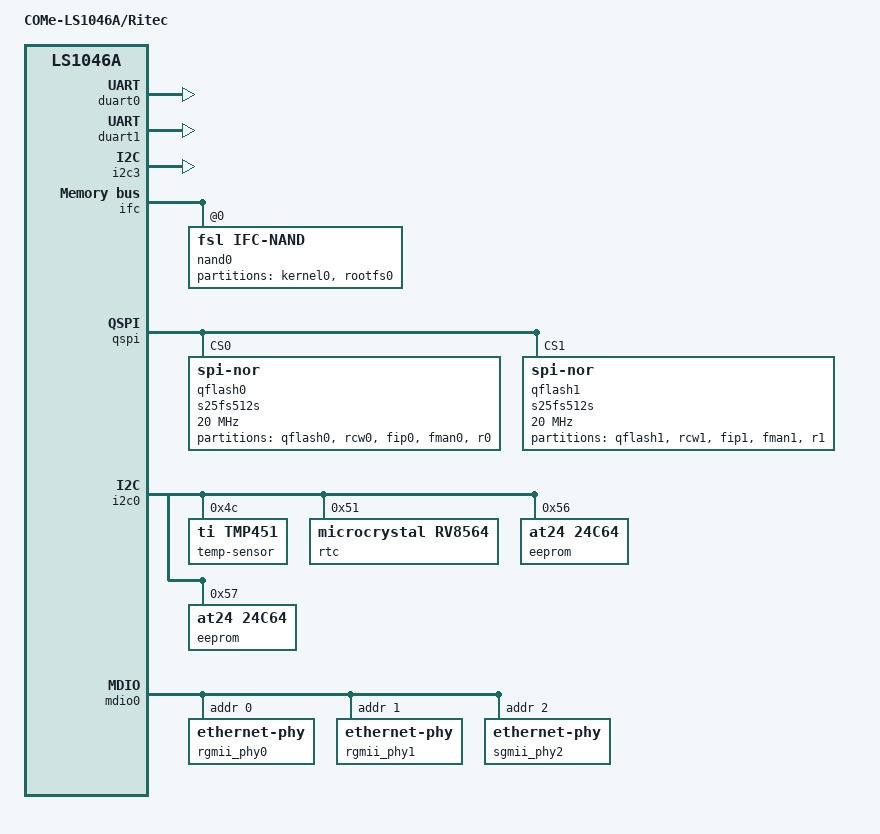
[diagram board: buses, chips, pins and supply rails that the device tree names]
/*
 * Device Tree Include file for Freescale Layerscape-1046A family SoC.
 *
 * Copyright 2019 NXP
 * Copyright (C) 2020 MicroSys Electronics GmbH
 *
 * Mingkai Hu <mingkai.hu@nxp.com>
 *
 * This file is dual-licensed: you can use it either under the terms
 * of the GPLv2 or the X11 license, at your option. Note that this dual
 * licensing only applies to this file, and not this project as a
 * whole.
 *
 *  a) This library is free software; you can redistribute it and/or
 *     modify it under the terms of the GNU General Public License as
 *     published by the Free Software Foundation; either version 2 of the
 *     License, or (at your option) any later version.
 *
 *     This library is distributed in the hope that it will be useful,
 *     but WITHOUT ANY WARRANTY; without even the implied warranty of
 *     MERCHANTABILITY or FITNESS FOR A PARTICULAR PURPOSE.  See the
 *     GNU General Public License for more details.
 *
 * Or, alternatively,
 *
 *  b) Permission is hereby granted, free of charge, to any person
 *     obtaining a copy of this software and associated documentation
 *     files (the "Software"), to deal in the Software without
 *     restriction, including without limitation the rights to use,
 *     copy, modify, merge, publish, distribute, sublicense, and/or
 *     sell copies of the Software, and to permit persons to whom the
 *     Software is furnished to do so, subject to the following
 *     conditions:
 *
 *     The above copyright notice and this permission notice shall be
 *     included in all copies or substantial portions of the Software.
 *
 *     THE SOFTWARE IS PROVIDED "AS IS", WITHOUT WARRANTY OF ANY KIND,
 *     EXPRESS OR IMPLIED, INCLUDING BUT NOT LIMITED TO THE WARRANTIES
 *     OF MERCHANTABILITY, FITNESS FOR A PARTICULAR PURPOSE AND
 *     NONINFRINGEMENT. IN NO EVENT SHALL THE AUTHORS OR COPYRIGHT
 *     HOLDERS BE LIABLE FOR ANY CLAIM, DAMAGES OR OTHER LIABILITY,
 *     WHETHER IN AN ACTION OF CONTRACT, TORT OR OTHERWISE, ARISING
 *     FROM, OUT OF OR IN CONNECTION WITH THE SOFTWARE OR THE USE OR
 *     OTHER DEALINGS IN THE SOFTWARE.
 */

/dts-v1/;

#include "fsl-ls1046a.dtsi"
#include "qoriq-qman-portals-sdk.dtsi"
#include "qoriq-bman-portals-sdk.dtsi"

/ {
	model = "COMe-LS1046A/Ritec";
	compatible = "fsl,ls1046a-rdb", "fsl,ls1046a", "microsys,comels1046a";

	aliases {
		ethernet0 = &enet2; /* fm1mac3 */
		ethernet1 = &enet3; /* fm1mac4 */
		ethernet2 = &enet6; /* fm1mac9 */

		serial0 = &duart0;
		serial1 = &duart1;
		serial2 = &duart2;
		serial3 = &duart3;

		mdio0 = &mdio0;
		mdio1 = &xmdio0;

		crypto = &crypto;
	};

	chosen {
		stdout-path = "serial0:115200n8";
	};
};

&bman_fbpr {
	compatible = "fsl,bman-fbpr";
	alloc-ranges = <0 0 0x10000 0>;
};
&qman_fqd {
	compatible = "fsl,qman-fqd";
	alloc-ranges = <0 0 0x10000 0>;
};
&qman_pfdr {
	compatible = "fsl,qman-pfdr";
	alloc-ranges = <0 0 0x10000 0>;
};


&esdhc {
	compatible = "fsl,ls1046a-esdhc", "fsl,esdhc";
	//mmc-hs200-1_8v;
};

&duart0 {
	status = "okay";
};

&duart1 {
	status = "okay";
};

&i2c3 {
	status = "okay";
};

&gpio0 {
    status = "okay";
};

&gpio3 {
    status = "okay";
};

#include "fsl-ls1046-post.dtsi"

&ifc {
    status = "okay";

    nand0: nand@0,0 {
        #address-cells = <1>;
        #size-cells = <1>;
        compatible = "fsl,ifc-nand";
        reg = <0x0 0x0 0x10000>;
        partition@0 {
            reg = <0x0 0x80000000>;
            label = "nand0";
        };
    };
};

&qspi {
    num-cs = <1>;
    bus-num = <0>;
    status = "okay";

    qflash0: s25fs512s@0 {
        compatible = "jedec,spi-nor","spansion,m25p80";
        #address-cells = <1>;
        #size-cells = <1>;
        spi-max-frequency = <20000000>;
        m25p,fast-read;
        reg = <0>;
        partition@ff {
            reg = <0x0 0x1000000>;
            label = "qflash0";
        };
    };

    qflash1: s25fs512s@1 {
        compatible = "jedec,spi-nor","spansion,m25p80";
        #address-cells = <1>;
        #size-cells = <1>;
        spi-max-frequency = <20000000>;
        m25p,fast-read;
        reg = <1>;
        partition@ff {
            reg = <0x0 0x1000000>;
            label = "qflash1";
        };
    };
};

&i2c0 {
    status = "okay";

    /*
    usbhub@44 { // TUSB8041
        reg = <0x44>;
    };
    */

    temp-sensor@4c {
        compatible = "ti,tmp451";
        reg = <0x4c>;
        extended-mode; // switch to extended temperature range from [-64..191]
        //interrupts = <GIC_SPI 132 IRQ_TYPE_LEVEL_LOW>; // THERM_ALERT# == TMP451.ALERT#
        #limit-cells = <4>;
        limits = <0x00 0xff 0xa4 0x8b>, // Local Temp.:  <-64 191 100 75>
                 <0x00 0xff 0xff 0x00>; // Remote Temp.: <-64 191 120 0>
    };

    rtc@51 {
        compatible = "microcrystal,rv8564";
        reg = <0x51>;
        interrupts = <GIC_SPI 131 IRQ_TYPE_LEVEL_LOW>;
    };

    eeprom@56 {
        compatible = "at24,24c64";
        reg = <0x56>;
    };

    eeprom@57 {
        compatible = "at24,24c64";
        reg = <0x57>;
    };

    /*
    clkgen@69 { // IDT6V49205
        reg = <0x69>;
    };
    */
};

&ifc {
	status = "okay";
	#address-cells = <2>;
	#size-cells = <1>;
	ranges = <0x0 0x0 0x0 0x7e800000 0x00010000>;
};

&nand0 {
        partition@0 {
            reg = <0x0 0x4000000>;
            label = "kernel0";
        };
        partition@1 {
            reg = <0x4000000 0x7c000000>;
            label = "rootfs0";
        };
};

&qflash0 {
		partition@0 {
			reg = <0x0 0x100000>;
			label = "rcw0";
		};
		partition@1 {
			reg = <0x100000 0x400000>;
			label = "fip0";
		};
		partition@2 {
			reg = <0x900000 0x40000>;
			label = "fman0";
		};
        partition@3 {
            reg = <0x940000 0x6c0000>;
            label = "r0";
        };
};

&qflash1 {
        partition@0 {
            reg = <0x0 0x100000>;
            label = "rcw1";
        };
        partition@1 {
            reg = <0x100000 0x400000>;
            label = "fip1";
        };
        partition@2 {
            reg = <0x900000 0x40000>;
            label = "fman1";
        };
        partition@3 {
            reg = <0x940000 0x6c0000>;
            label = "r1";
        };
};

&xmdio0 {
};

&mdio0 {
        rgmii_phy0: ethernet-phy@0 { // EC1, MAC3
            reg = <0x0>;
            phy-connection-type = "rgmii-id";
            //interrupts = <GIC_SPI 151 IRQ_TYPE_LEVEL_LOW>;
            ti,tx-internal-delay = <5>; // == 1.5ns
            ti,rx-internal-delay = <5>; // == 1.5ns
            ti,fifo-depth = <1>;
            enet-phy-lane-swap;
            ti,dp83867-rxctrl-strap-quirk;
        };

        rgmii_phy1: ethernet-phy@1 { // EC2, MAC4
            reg = <0x1>;
            phy-connection-type = "rgmii-id";
            //interrupts = <GIC_SPI 151 IRQ_TYPE_LEVEL_LOW>;
            ti,tx-internal-delay = <5>; // == 1.5ns
            ti,rx-internal-delay = <5>; // == 1.5ns
            ti,fifo-depth = <1>;
            enet-phy-lane-swap;
            ti,dp83867-rxctrl-strap-quirk;
        };

        sgmii_phy2: ethernet-phy@2 { // SGMII.9, MAC9@1af.0000
            reg = <0x2>;
            phy-connection-type = "sgmii";
            //interrupts = <GIC_SPI 151 IRQ_TYPE_LEVEL_LOW>;
            ti,fifo-depth = <1>;
        };
};

&soc {
#include "qoriq-dpaa-eth.dtsi"
#include "qoriq-fman3-0-6oh.dtsi"
};

&fsldpaa {

    ethernet@0 {
        status = "disabled";
    };

    ethernet@1 {
        status = "disabled";
    };

	ethernet@4 {
		status = "disabled";
	};

	ethernet@5 {
		status = "disabled";
	};

};

&fman0 {

	compatible = "fsl,fman", "simple-bus";

    ethernet@e4000 {
        phy-handle = <&rgmii_phy0>;
        phy-connection-type = "rgmii-id";
    };

    ethernet@e6000 {
        phy-handle = <&rgmii_phy1>;
        phy-connection-type = "rgmii-id";
    };

    ethernet@f0000 {
        phy-handle = <&sgmii_phy2>;
        phy-connection-type = "sgmii";
    };
};

&clockgen {
	dma-coherent;
};

&scfg {
	dma-coherent;
};

&crypto {
	dma-coherent;
};

&dcfg {
	dma-coherent;
};

&ifc {
	dma-coherent;
};

&qspi {
	dma-coherent;
};

&esdhc {
	dma-coherent;
};

&ddr {
	dma-coherent;
};

&tmu {
	dma-coherent;
};

&qman {
	dma-coherent;
};

&bman {
	dma-coherent;
};

&bportals {
	dma-coherent;
};

&qportals {
	dma-coherent;
};

&dspi {
	dma-coherent;
};

&i2c0 {
	dma-coherent;
};

&i2c1 {
	dma-coherent;
	status = "disabled";
};

&i2c2 {
	dma-coherent;
    status = "disabled";
};

&i2c3 {
	dma-coherent;
    status = "okay";
};

&duart0 {
	dma-coherent;
};

&duart1 {
	dma-coherent;
};

&duart2 {
	dma-coherent;
};

&duart3 {
	dma-coherent;
};

&gpio0 {
	dma-coherent;
};

&gpio1 {
	dma-coherent;
};

&gpio2 {
	dma-coherent;
};

&gpio3 {
	dma-coherent;
};

&lpuart0 {
	dma-coherent;
};

&lpuart1 {
	dma-coherent;
};

&lpuart2 {
	dma-coherent;
};

&lpuart3 {
	dma-coherent;
};

&lpuart4 {
	dma-coherent;
};

&lpuart5 {
	dma-coherent;
};

&ftm_alarm0 {
	dma-coherent;
};

&wdog0 {
	dma-coherent;
};

&edma0 {
	dma-coherent;
};

&sata {
	dma-coherent;
	status = "disabled";
};

&qdma {
	dma-coherent;
};

&msi1 {
	dma-coherent;
};

&msi2 {
	dma-coherent;
};

&msi3 {
	dma-coherent;
};

&fman0 {
	dma-coherent;
};

&ptp_timer0 {
	dma-coherent;
};

&fsldpaa {
	dma-coherent;
};
